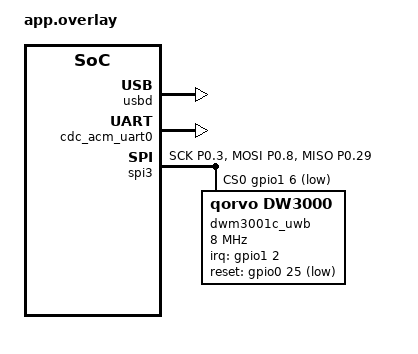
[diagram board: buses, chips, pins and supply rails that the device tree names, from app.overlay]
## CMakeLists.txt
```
cmake_minimum_required(VERSION 3.20.0)

# Point Devicetree tooling at our overlay and DW3000 binding
set(DTC_OVERLAY_FILE ${CMAKE_CURRENT_SOURCE_DIR}/app.overlay)
set(DTS_ROOT
    ${CMAKE_CURRENT_SOURCE_DIR}
    ${CMAKE_CURRENT_SOURCE_DIR}/../uwb_chipid
)

find_package(Zephyr REQUIRED HINTS $ENV{ZEPHYR_BASE})
project(tof_responder)

set(QORVO_DWT_PATH ${CMAKE_CURRENT_SOURCE_DIR}/../../DW3_QM33_SDK_1/Drivers/API/Shared/dwt_uwb_driver)

target_include_directories(app PRIVATE
  ${QORVO_DWT_PATH}
  ${CMAKE_CURRENT_SOURCE_DIR}/../uwb_chipid/src
)

target_sources(app PRIVATE
  src/main.c
  ${CMAKE_CURRENT_SOURCE_DIR}/../uwb_chipid/src/dw3000_port.c
  ${CMAKE_CURRENT_SOURCE_DIR}/../uwb_chipid/src/deca_probe_interface_zephyr.c
  ${CMAKE_CURRENT_SOURCE_DIR}/../uwb_chipid/src/deca_rsl_stub.c
)

target_sources(app PRIVATE
  ${QORVO_DWT_PATH}/deca_interface.c
  ${QORVO_DWT_PATH}/deca_compat.c
  ${QORVO_DWT_PATH}/dw3000/dw3000_device.c
)
```

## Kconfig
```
menu "TOF responder options"

config TOF_RESP_DELAY_UUS
    int "Responder reply delay (UUS)"
    default 250
    range 100 2000
    help
      Delay between POLL reception and RESP transmission expressed in
      UWB microseconds (UUS). This value must match the initiator's
      expectation to obtain accurate ranges. 1 UUS is approximately
      1 microsecond on DW3000 hardware.

config TOF_RESP_LISTEN_TIMEOUT_UUS
    int "Responder listen timeout (UUS)"
    default 10000
    range 1000 60000
    help
      DW3000 receive timeout while waiting for the SSTWR POLL frame.
      Larger values increase power consumption but improve tolerance
      to jitter between initiator polls.

endmenu

source "Kconfig.zephyr"
```

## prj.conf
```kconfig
# Console over USB CDC ACM
CONFIG_SERIAL=y
CONFIG_CONSOLE=y
CONFIG_PRINTK=y
CONFIG_UART_CONSOLE=y
CONFIG_UART_LINE_CTRL=y

# USB device stack (legacy) + CDC ACM class
CONFIG_USB_DEVICE_STACK=y
CONFIG_USB_CDC_ACM=y
CONFIG_USB_DEVICE_PRODUCT="DWM3001CDK CDC ACM"
CONFIG_USB_DEVICE_VID=0x2FE3
CONFIG_USB_DEVICE_PID=0x0100

# Core drivers
CONFIG_SPI=y
CONFIG_GPIO=y
CONFIG_THREAD_NAME=y
CONFIG_ASSERT=y
CONFIG_HEAP_MEM_POOL_SIZE=2048
CONFIG_TOF_RESP_DELAY_UUS=1000

# Logging routed to USB console
CONFIG_LOG=y
CONFIG_LOG_MODE_IMMEDIATE=y
CONFIG_LOG_BACKEND_UART=n
CONFIG_USB_DEVICE_INITIALIZE_AT_BOOT=y
CONFIG_LOG_PRINTK=n
CONFIG_LOG_BACKEND_RTT=n
CONFIG_USE_SEGGER_RTT=n
CONFIG_LOG_DEFAULT_LEVEL=3

# Disable RTT console so printk/logs go to USB only
CONFIG_RTT_CONSOLE=n
```

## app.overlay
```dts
/*
 * DWM3001CDK SSTWR responder overlay
 * - USB CDC ACM console
 * - DW3110 UWB transceiver on SPIM3
 */

/ {
    chosen {
        zephyr,console = &cdc_acm_uart0;
        zephyr,shell-uart = &cdc_acm_uart0;
    };
};

&usbd { status = "okay"; };

&zephyr_udc0 {
    cdc_acm_uart0: cdc_acm_uart0 {
        compatible = "zephyr,cdc-acm-uart";
        label = "CDC_ACM_0";
    };
};

&spi3 {
    status = "okay";
    pinctrl-0 = <&spi3_dwm_default>;
    pinctrl-1 = <&spi3_dwm_sleep>;
    pinctrl-names = "default", "sleep";
    cs-gpios = <&gpio1 6 GPIO_ACTIVE_LOW>;

    dwm3001c_uwb: dwm3001c_uwb@0 {
        compatible = "qorvo,dw3000";
        reg = <0>;
        spi-max-frequency = <8000000>;
        irq-gpios = <&gpio1 2 GPIO_ACTIVE_HIGH>;
        reset-gpios = <&gpio0 25 GPIO_ACTIVE_LOW>;
    };
};

&pinctrl {
    spi3_dwm_default: spi3_dwm_default {
        group1 {
            psels = <NRF_PSEL(SPIM_SCK, 0, 3)>,
                    <NRF_PSEL(SPIM_MOSI, 0, 8)>,
                    <NRF_PSEL(SPIM_MISO, 0, 29)>;
        };
    };

    spi3_dwm_sleep: spi3_dwm_sleep {
        group1 {
            psels = <NRF_PSEL(SPIM_SCK, 0, 3)>,
                    <NRF_PSEL(SPIM_MOSI, 0, 8)>,
                    <NRF_PSEL(SPIM_MISO, 0, 29)>;
            low-power-enable;
        };
    };
};
```

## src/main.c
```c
#include <zephyr/kernel.h>
#include <zephyr/device.h>
#include <zephyr/drivers/gpio.h>
#include <zephyr/drivers/uart.h>
#include <zephyr/logging/log.h>
#include <zephyr/sys/printk.h>
#include <zephyr/sys/atomic.h>
#include <zephyr/usb/usb_device.h>

#include <stdbool.h>
#include <string.h>

/* Qorvo DW3000 driver headers */
#include "deca_device_api.h"
#include "deca_probe_interface.h"

/* Minimal Zephyr port helpers reused from uwb_chipid demo */
int dw_port_init(void);
void dw_port_reset_assert(void);
void dw_port_reset_deassert(void);

LOG_MODULE_REGISTER(tof_responder, LOG_LEVEL_INF);

/* -------------------------------------------------------------------------- */
/* Frame definitions shared with the initiator                                */
/* -------------------------------------------------------------------------- */

enum { TOF_MSG_POLL = 0x10, TOF_MSG_RESP = 0x11 };

struct __packed tof_msg_hdr {
    uint8_t type;
    uint8_t seq;
    uint8_t rsv0;
    uint8_t rsv1;
};

struct __packed tof_resp_payload {
    uint64_t resp_tx_ts;      /* 40-bit timestamp expanded to 64-bit */
    uint32_t reply_delay_dtu; /* echo the programmed delay for convenience */
};

/* -------------------------------------------------------------------------- */
/* Timing helpers                                                             */
/* -------------------------------------------------------------------------- */

#define SPEED_OF_LIGHT       299702547.0  /* m/s (from Qorvo shared_defines.h) */
#define DWT_TIME_UNITS       (1.0 / (499.2e6 * 128.0))
#define UUS_TO_DWT_TIME      63898U       /* 1 UUS (~1us) expressed in DTU */

#define RESP_DELAY_UUS       CONFIG_TOF_RESP_DELAY_UUS
#define RESP_DELAY_DTU       ((uint64_t)RESP_DELAY_UUS * UUS_TO_DWT_TIME)
#define POLL_RX_TIMEOUT_UUS  CONFIG_TOF_RESP_LISTEN_TIMEOUT_UUS
#define RESP_TX_GUARD_UUS    500
#define RESP_TX_GUARD_DTU    ((uint32_t)RESP_TX_GUARD_UUS * UUS_TO_DWT_TIME)

/* -------------------------------------------------------------------------- */
/* GPIO/IRQ wiring from the Devicetree overlay                                */
/* -------------------------------------------------------------------------- */

#define UWB_NODE DT_NODELABEL(dwm3001c_uwb)
static const struct gpio_dt_spec uwb_irq = GPIO_DT_SPEC_GET(UWB_NODE, irq_gpios);

/* -------------------------------------------------------------------------- */
/* Driver event synchronisation                                               */
/* -------------------------------------------------------------------------- */

static struct k_sem sem_tx_done;
static struct k_sem sem_rx_done;
static struct k_sem sem_rx_to;
static struct k_sem sem_rx_err;

static uint8_t rx_buf[128];
static uint16_t rx_len;
static uint64_t last_rx_ts;
static uint64_t last_tx_ts;

static inline uint64_t ts5_to_u64(const uint8_t ts[5])
{
    return ((uint64_t)ts[4] << 32) | ((uint64_t)ts[3] << 24) |
           ((uint64_t)ts[2] << 16) | ((uint64_t)ts[1] << 8) | (uint64_t)ts[0];
}


static uint64_t get_rx_timestamp_u64(void)
{
    uint8_t ts[5] = {0};
    dwt_readrxtimestamp(ts, DWT_COMPAT_NONE);
    return ts5_to_u64(ts);
}

static uint64_t get_tx_timestamp_u64(void)
{
    uint8_t ts[5] = {0};
    dwt_readtxtimestamp(ts);
    return ts5_to_u64(ts);
}


/* -------------------------------------------------------------------------- */
/* USB helper                                                                 */
/* -------------------------------------------------------------------------- */

static const struct device *cdc_dev;
static volatile bool running = true;

static void poll_console_keys(void)
{
    if (!cdc_dev || !device_is_ready(cdc_dev)) {
        return;
    }

    unsigned char c;
    while (uart_poll_in(cdc_dev, &c) == 0) {
        if (c == 's' || c == 'S') {
            running = !running;
            printk("[console] %s\n", running ? "start" : "pause");
        }
    }
}

static void usb_ready_wait(void)
{
    /* Bring up the USB CDC ACM device */
    (void)usb_enable(NULL);

    cdc_dev = DEVICE_DT_GET(DT_NODELABEL(cdc_acm_uart0));
    for (int i = 0; i < 20 && !device_is_ready(cdc_dev); ++i) {
        k_msleep(100);
    }

    if (!cdc_dev || !device_is_ready(cdc_dev)) {
        return;
    }

    uint32_t dtr = 0;
    for (int i = 0; i < 40; ++i) {
        (void)uart_line_ctrl_get(cdc_dev, UART_LINE_CTRL_DTR, &dtr);
        if (dtr) {
            break;
        }
        k_msleep(50);
    }
    k_msleep(50);
    return;
}

static void wait_for_dtr(void) {
    /* Get a reference to our USB CDC-ACM UART device defined in the overlay */
    const struct device *const dev = DEVICE_DT_GET(DT_NODELABEL(cdc_acm_uart0));

    /* If the device isn't ready, skip waiting (device might not be configured) */
    if (!device_is_ready(dev)) {
        return;
    }

    uint32_t dtr = 0;  /* Data Terminal Ready flag */

    /* Enable the USB device stack. Ignore errors if already enabled.
     * This brings up the USB peripheral and makes the CDC device visible
     * to the host computer. */
    (void)usb_enable(NULL);

    /* Poll the DTR (Data Terminal Ready) signal for up to 5 seconds.
     * DTR is set by terminal applications when they open the serial port.
     * We check every 500ms for a maximum of 10 attempts. */
    for (int i = 0; i < 10; ++i) {
        /* Query the current DTR state from the UART device */
        uart_line_ctrl_get(dev, UART_LINE_CTRL_DTR, &dtr);

        /* If DTR is set (terminal connected), we can proceed */
        if (dtr) {
            return;
        }

        /* Wait 500ms before checking again */
        k_msleep(500);
    }

    /* If we reach here, no terminal connected within 5 seconds.
     * We'll proceed anyway, but initial prints might be lost. */
}

/* -------------------------------------------------------------------------- */
/* IRQ plumbing                                                                */
/* -------------------------------------------------------------------------- */

static struct gpio_callback irq_cb;
#define UWB_ISR_STACK_SIZE 1536
#define UWB_ISR_PRIORITY   0

static struct k_sem uwb_isr_sem;
static struct k_thread uwb_isr_thread;
K_THREAD_STACK_DEFINE(uwb_isr_stack, UWB_ISR_STACK_SIZE);
static atomic_t uwb_ready;

static void uwb_isr_thread_fn(void *arg1, void *arg2, void *arg3)
{
    ARG_UNUSED(arg1);
    ARG_UNUSED(arg2);
    ARG_UNUSED(arg3);

    while (1) {
        k_sem_take(&uwb_isr_sem, K_FOREVER);
        if (!atomic_get(&uwb_ready)) {
            continue;
        }
        while (dwt_checkirq()) {
            dwt_isr();
        }
    }
}

static void uwb_irq_handler(const struct device *dev, struct gpio_callback *cb, uint32_t pins)
{
    ARG_UNUSED(dev);
    ARG_UNUSED(cb);
    ARG_UNUSED(pins);
    if (atomic_get(&uwb_ready)) {
        k_sem_give(&uwb_isr_sem);
    }
}

static int irq_setup(void)
{
    if (!device_is_ready(uwb_irq.port)) {
        return -ENODEV;
    }
    int ret = gpio_pin_configure_dt(&uwb_irq, GPIO_INPUT);
    if (ret) {
        return ret;
    }
    ret = gpio_pin_interrupt_configure_dt(&uwb_irq, GPIO_INT_EDGE_TO_ACTIVE);
    if (ret) {
        return ret;
    }
    gpio_init_callback(&irq_cb, uwb_irq_handler, BIT(uwb_irq.pin));
    gpio_add_callback(uwb_irq.port, &irq_cb);
    return 0;
}

/* -------------------------------------------------------------------------- */
/* DW3000 driver callbacks                                                     */
/* -------------------------------------------------------------------------- */

static void on_tx_done(const dwt_cb_data_t *cb)
{
    ARG_UNUSED(cb);
    last_tx_ts = get_tx_timestamp_u64();
    k_sem_give(&sem_tx_done);
}

static void on_rx_ok(const dwt_cb_data_t *cb)
{
    rx_len = cb->datalength;
    if (rx_len > sizeof(rx_buf)) {
        rx_len = sizeof(rx_buf);
    }
    dwt_readrxdata(rx_buf, rx_len, 0);
    last_rx_ts = get_rx_timestamp_u64();
    k_sem_give(&sem_rx_done);
}

static void on_rx_to(const dwt_cb_data_t *cb)
{
    ARG_UNUSED(cb);
    k_sem_give(&sem_rx_to);
}

static void on_rx_err(const dwt_cb_data_t *cb)
{
    ARG_UNUSED(cb);
    k_sem_give(&sem_rx_err);
}

/* -------------------------------------------------------------------------- */
/* Radio bring-up                                                             */
/* -------------------------------------------------------------------------- */

static int dw3110_radio_init(void)
{
    dw_port_reset_assert();
    k_msleep(2);
    dw_port_reset_deassert();
    k_msleep(5);

    if (dwt_probe((struct dwt_probe_s *)&dw3000_probe_interf) < 0) {
        return -EIO;
    }
    while (!dwt_checkidlerc()) {
        k_busy_wait(50);
    }
    if (dwt_initialise(DWT_READ_OTP_ALL) != DWT_SUCCESS) {
        return -EIO;
    }

    dwt_config_t cfg = {
        .chan = 9,
        .txPreambLength = DWT_PLEN_64,
        .rxPAC = DWT_PAC8,
        .txCode = 9,
        .rxCode = 9,
        .sfdType = DWT_SFD_IEEE_4A,
        .dataRate = DWT_BR_6M8,
        .phrMode = DWT_PHRMODE_STD,
        .phrRate = DWT_PHRRATE_STD,
        .sfdTO = DWT_SFDTOC_DEF,
        .stsMode = DWT_STS_MODE_OFF,
        .stsLength = DWT_STS_LEN_32,
        .pdoaMode = DWT_PDOA_M0,
    };
    if (dwt_configure(&cfg) != DWT_SUCCESS) {
        return -EIO;
    }

    dwt_configureframefilter(DWT_FF_DISABLE, 0);
    dwt_setlnapamode(DWT_LNA_ENABLE | DWT_PA_ENABLE);

    dwt_setinterrupt(DWT_INT_TXFRS_BIT_MASK |
                         DWT_INT_RXFCG_BIT_MASK |
                         DWT_INT_RXFTO_BIT_MASK |
                         DWT_INT_RXPTO_BIT_MASK,
                     0, DWT_ENABLE_INT);

    dwt_callbacks_s cbs = {0};
    cbs.cbTxDone = on_tx_done;
    cbs.cbRxOk = on_rx_ok;
    cbs.cbRxTo = on_rx_to;
    cbs.cbRxErr = on_rx_err;
    dwt_setcallbacks(&cbs);
    atomic_set(&uwb_ready, 1);

    return 0;
}

/* -------------------------------------------------------------------------- */
/* Main loop                                                                  */
/* -------------------------------------------------------------------------- */

void main(void)
{
    wait_for_dtr();
    //usb_ready_wait();
    printk("\n[DWM3001CDK] SSTWR responder starting\n");
    LOG_INF("Responder boot");
    if (cdc_dev && device_is_ready(cdc_dev)) {
        printk("Press 's' to toggle start/pause\n");
    }

    k_sem_init(&sem_tx_done, 0, 1);
    k_sem_init(&sem_rx_done, 0, 1);
    k_sem_init(&sem_rx_to, 0, 1);
    k_sem_init(&sem_rx_err, 0, 1);
    k_sem_init(&uwb_isr_sem, 0, 1);
    atomic_clear(&uwb_ready);
    k_thread_create(&uwb_isr_thread, uwb_isr_stack, UWB_ISR_STACK_SIZE,
                    uwb_isr_thread_fn, NULL, NULL, NULL,
                    UWB_ISR_PRIORITY, 0, K_NO_WAIT);

    if (dw_port_init()) {
        printk("DW port init failed\n");
        LOG_ERR("dw_port_init failed");
        return;
    }
    if (irq_setup()) {
        printk("IRQ setup failed\n");
        LOG_ERR("irq_setup failed");
        return;
    }
    if (dw3110_radio_init()) {
        printk("DW3000 init failed\n");
        LOG_ERR("dw3110_radio_init failed");
        return;
    }

    uint16_t rx_timeout = POLL_RX_TIMEOUT_UUS; /* units expected by dwt_setrxtimeout */
    uint16_t tx_ant_delay = dwt_gettxantennadelay();

    uint32_t poll_counter = 0;

    while (1) {
        poll_console_keys();
        if (!running) {
            k_msleep(50);
            continue;
        }
        dwt_setrxtimeout(rx_timeout);
        dwt_rxenable(DWT_START_RX_IMMEDIATE);

        int got_poll = 0;
        if (k_sem_take(&sem_rx_done, K_MSEC(15)) == 0) {
            got_poll = 1;
        } else {
            (void)k_sem_take(&sem_rx_to, K_NO_WAIT);
            (void)k_sem_take(&sem_rx_err, K_NO_WAIT);
        }

        if (!got_poll) {
            if ((poll_counter++ % 50u) == 0u) {
                printk("RESP: listening...\n");
                LOG_DBG("listening (no poll yet)");
            }
            continue;
        }

        if (rx_len < sizeof(struct tof_msg_hdr)) {
            continue;
        }
        struct tof_msg_hdr *hdr = (struct tof_msg_hdr *)rx_buf;
        if (hdr->type != TOF_MSG_POLL) {
            continue;
        }
        uint8_t seq = hdr->seq;
        uint64_t t_rx_poll = last_rx_ts;

        /* Schedule the response */
        uint64_t target_dtu = t_rx_poll + RESP_DELAY_DTU;
        uint32_t reply_delay_dtu = (uint32_t)(target_dtu - t_rx_poll);
        uint32_t resp_tx_time32 = (uint32_t)(target_dtu >> 8);
        uint64_t scheduled_tx = (((uint64_t)(resp_tx_time32 & 0xFFFFFFFEUL)) << 8) +
                                tx_ant_delay;

        uint8_t tx_frame[sizeof(struct tof_msg_hdr) + sizeof(struct tof_resp_payload)] = {0};
        struct tof_msg_hdr *resp_hdr = (struct tof_msg_hdr *)tx_frame;
        resp_hdr->type = TOF_MSG_RESP;
        resp_hdr->seq = seq;

        struct tof_resp_payload *payload = (struct tof_resp_payload *)(tx_frame + sizeof(struct tof_msg_hdr));
        payload->resp_tx_ts = scheduled_tx;
        payload->reply_delay_dtu = reply_delay_dtu;

        dwt_writetxdata(sizeof(tx_frame), tx_frame, 0);
        dwt_writetxfctrl(sizeof(tx_frame), 0, 1);

        dwt_setdelayedtrxtime(resp_tx_time32);
        dwt_setrxaftertxdelay(0);
        dwt_setrxtimeout(0);
        if (dwt_starttx(DWT_START_TX_DELAYED) == DWT_ERROR) {
            printk("RESP: TX late (seq=%u)\n", seq);
            LOG_WRN("TX late seq=%u", seq);
            continue;
        }
        
        int tx_success = (k_sem_take(&sem_tx_done, K_MSEC(5)) == 0);
        uint64_t t_tx_resp;
        if (tx_success) {
            t_tx_resp = last_tx_ts;
        } else {
            /* TX semaphore timed out, use scheduled timestamp as fallback */
            t_tx_resp = scheduled_tx;
            LOG_WRN("TX timeout seq=%u, using scheduled timestamp", seq);
        }

        printk("RESP: seq=%u poll_ts=%llu resp_ts=%llu delay_dtu=%u\n",
               seq, t_rx_poll, t_tx_resp, payload->reply_delay_dtu);
        LOG_INF("responded seq=%u poll_ts=%llu resp_ts=%llu", seq, t_rx_poll, t_tx_resp);
        poll_console_keys();
    }
}
```
